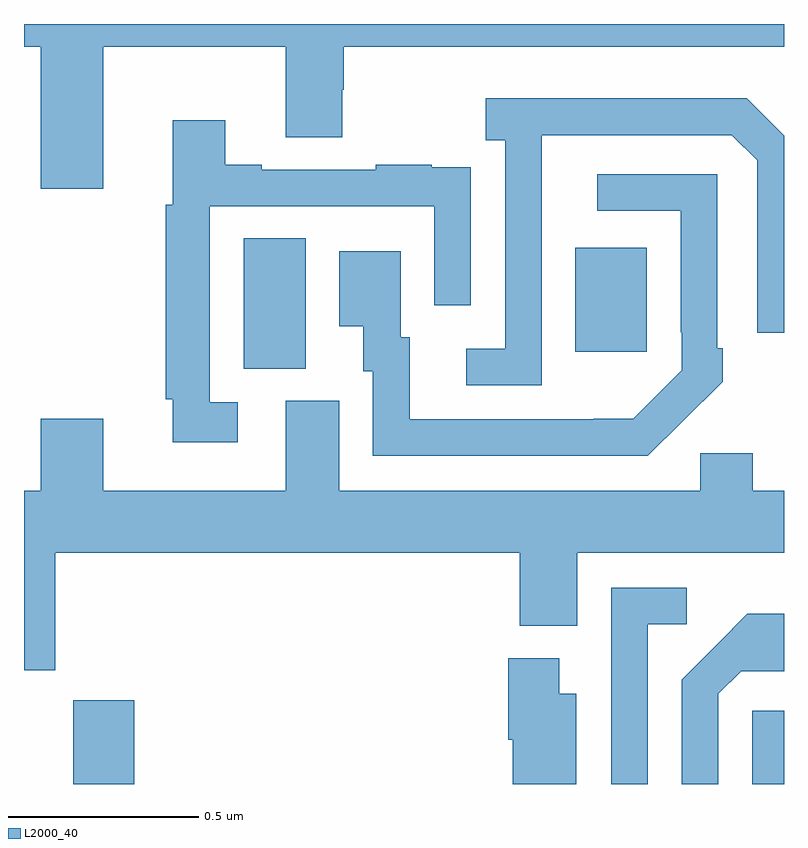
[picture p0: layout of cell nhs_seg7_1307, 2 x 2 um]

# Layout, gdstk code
import gdstk
lib = gdstk.Library(unit=1e-6, precision=1e-09)
def R(c, l, rs):  # rectangles x0, y0, x1, y1
    for r in rs: c.add(gdstk.rectangle(r[:2], r[2:], *l))
def P(c, l, *ps):  # polygons
    for p in ps: c.add(gdstk.Polygon(p, *l))
L2000_40 = (2000, 40)

nhs_seg7_1307 = lib.new_cell('nhs_seg7_1307')
R(nhs_seg7_1307, L2000_40, [(129.13,1008,129.29,1008.22), (130.917,1008,131,1008.193), (129.578,1009.093,129.742,1009.436), (130.451,1009.137,130.639,1009.411)])
P(nhs_seg7_1307, L2000_40, [(129.208,1009.94),(129.689,1009.94),(129.689,1009.702),(129.837,1009.702),(129.837,1009.827),(129.842,1009.827),(129.842,1009.94),(131,1009.94),(131,1010),(129,1010),(129,1009.94),(129.044,1009.94),(129.044,1009.566),(129.208,1009.566)],
  [(130.362,1009.507),(130.363,1009.507),(130.363,1009.707),(130.863,1009.707),(130.929,1009.641),(130.929,1009.188),(131,1009.188),(131,1009.706),(130.902,1009.804),(130.215,1009.804),(130.215,1009.694),(130.266,1009.694),(130.266,1009.146),(130.164,1009.146),(130.164,1009.05),(130.362,1009.05)],
  [(129.562,1009.005),(129.489,1009.005),(129.489,1009.521),(130.08,1009.521),(130.08,1009.26),(130.176,1009.26),(130.176,1009.514),(130.175,1009.514),(130.175,1009.623),(130.073,1009.623),(130.073,1009.63),(129.925,1009.63),(129.925,1009.617),(129.625,1009.617),(129.625,1009.63),(129.529,1009.63),(129.529,1009.747),(129.392,1009.747),(129.392,1009.524),(129.373,1009.524),(129.373,1009.012),(129.392,1009.012),(129.392,1008.9),(129.562,1008.9)],
  [(130.733,1008.955),(130.734,1008.954),(130.839,1009.059),(130.839,1009.147),(130.824,1009.147),(130.824,1009.605),(130.509,1009.605),(130.509,1009.509),(130.728,1009.509),(130.728,1009.189),(130.731,1009.189),(130.731,1009.089),(130.603,1008.961),(130.499,1008.961),(130.499,1008.96),(130.015,1008.96),(130.015,1009.176),(129.991,1009.176),(129.991,1009.402),(129.83,1009.402),(129.83,1009.205),(129.893,1009.205),(129.893,1009.086),(129.918,1009.086),(129.918,1008.864),(130.642,1008.864)],
  [(129.082,1008.608),(130.304,1008.608),(130.304,1008.416),(130.456,1008.416),(130.456,1008.608),(131,1008.608),(131,1008.772),(130.918,1008.772),(130.918,1008.87),(130.779,1008.87),(130.779,1008.772),(129.829,1008.772),(129.829,1009.008),(129.689,1009.008),(129.689,1008.772),(129.208,1008.772),(129.208,1008.961),(129.044,1008.961),(129.044,1008.772),(129,1008.772),(129,1008.299),(129.082,1008.299)],
  [(130.641,1008.42),(130.744,1008.42),(130.744,1008.516),(130.545,1008.516),(130.545,1008),(130.641,1008)],
  [(130.827,1008.237),(130.887,1008.297),(131,1008.297),(131,1008.448),(130.903,1008.448),(130.823,1008.367),(130.731,1008.274),(130.731,1008),(130.827,1008)],
  [(130.453,1008.238),(130.408,1008.238),(130.408,1008.331),(130.274,1008.331),(130.274,1008.117),(130.286,1008.117),(130.286,1008),(130.453,1008)])

lib.write_gds('nhs_seg7_1307.gds')
